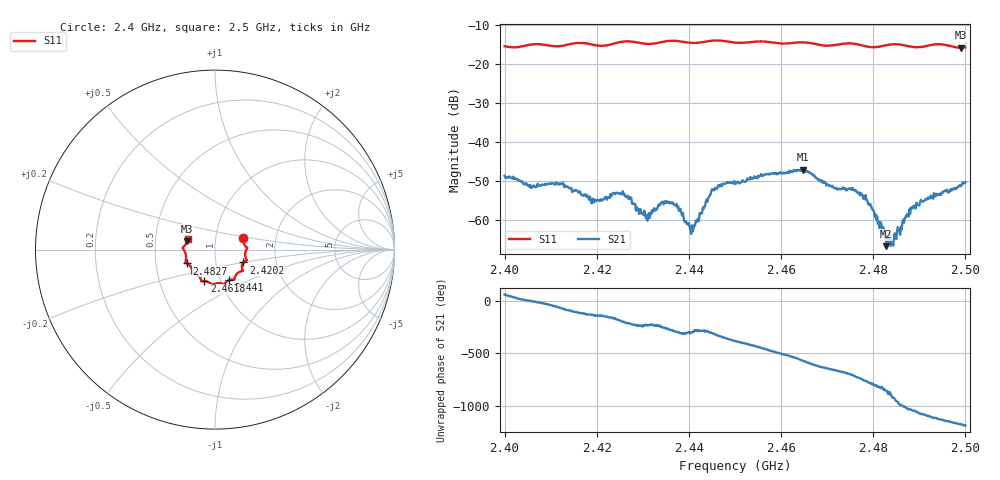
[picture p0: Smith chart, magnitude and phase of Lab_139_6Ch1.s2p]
# Hz S RI R 50
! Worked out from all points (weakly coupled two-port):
!   601 points, 2.4 GHz to 2.5 GHz, reference 50 ohm
!   highest |S21| = -47.14 dB at 2.4647 GHz (marker M1); lowest = -66.8 dB at 2.4828 GHz (marker M2)
!   lowest |S11| = -15.8 dB at 2.499 GHz (marker M3), VSWR 1.39, Z = 36.4 + j3.52 ohm
!   |S11| at or under -10 dB: start of sweep to end of sweep
!   S12 and S22 are empty: the file has one direction only
!   S11 on the Smith chart (normalised r, x): 2.4 GHz: 1.36, +0.17; 2.4202 GHz: 1.36, -0.20; 2.441 GHz: 1.10, -0.39; 2.4618 GHz: 0.84, -0.30; 2.4827 GHz: 0.72, -0.12; 2.5 GHz: 0.73, +0.09
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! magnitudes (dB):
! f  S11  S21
! 2.4 GHz  -15.4  -48.7
! 2.4057 GHz  -15.0  -51.8
! 2.4122 GHz  -15.4  -50.8
! 2.4167 GHz  -14.6  -53.5
! 2.4202 GHz  -15.2  -54.9
! 2.4255 GHz  -14.2  -53.1
! 2.431 GHz  -14.8  -60.2
! 2.4333 GHz  -14.5  -56.3
! 2.4368 GHz  -14.0  -56.1
! 2.441 GHz  -14.6  -62.4
! 2.4453 GHz  -14.0  -52.4
! 2.45 GHz  -14.5  -50.8
! 2.4618 GHz  -14.6  -47.4
! 2.4647 GHz  -14.4  -47.1
! 2.4667 GHz  -14.6  -48.4
! 2.4778 GHz  -15.3  -54.6
! 2.4827 GHz  -15.2  -63.4
! 2.4828 GHz  -15.1  -66.8
! 2.4833 GHz  -15.0  -66.0
! 2.489 GHz  -15.6  -56.4
! 2.499 GHz  -15.8  -51.4
! 2.5 GHz  -15.7  -50.4
